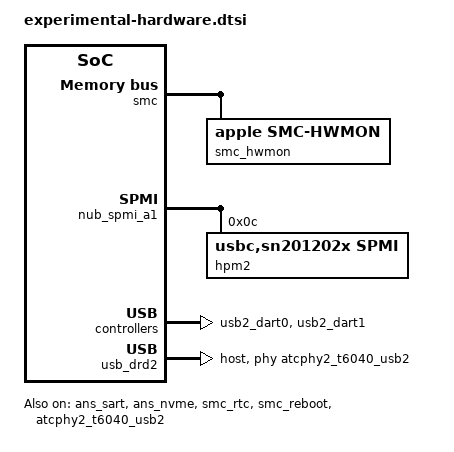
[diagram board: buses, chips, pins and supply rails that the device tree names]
// SPDX-License-Identifier: GPL-2.0+ OR MIT
/*
 * J614s experimental driver testing, appended to the working SD-root board.
 * The matching drivers are packaged as modules for explicit userspace trials.
 * These are enabled hardware descriptions, not a claim of native stability.
 *
 * USB2/PD wiring derives from Wallace 55f116dd, usb2-native-right[-pd].
 * Only the right USB-C port has a T6040 host PHY implementation in that stack.
 * Its two DARTs probe at boot because the SD path needs APPLE_DART built in.
 */
#include <dt-bindings/phy/phy.h>
#include <dt-bindings/spmi/spmi.h>

&ans_mbox { status = "okay"; };
&ans_sart { status = "okay"; };
&ans_nvme { status = "okay"; };

/* Power domains are required even with pd_ignore_unused: a cold controller
 * may start powered off. Do not reproduce Wallace's early SPMI boot hangs. */
&nub_spmi0 {
	power-domains = <&ps_nub_spmi0>;
	status = "okay";
};
&smc_rtc { status = "okay"; };
&smc_reboot { status = "okay"; };

/* Asahi common/laptop telemetry keys. Missing keys are skipped by hwmon.
 * Omit fan target/mode properties so no manual fan controls are exposed. */
&smc {
	smc_hwmon: hwmon {
		compatible = "apple,smc-hwmon";
		power-PSTR { apple,key-id = "PSTR"; label = "Total System Power"; };
		power-PDTR { apple,key-id = "PDTR"; label = "AC Input Power"; };
		power-PHPC { apple,key-id = "PHPC"; label = "Heatpipe Power"; };
		temperature-TH0x { apple,key-id = "TH0x"; label = "NAND Flash Temperature"; };
		temperature-TB0T { apple,key-id = "TB0T"; label = "Battery Hotspot"; };
		temperature-TCHP { apple,key-id = "TCHP"; label = "Charge Regulator Temp"; };
		temperature-TW0P { apple,key-id = "TW0P"; label = "WiFi/BT Module Temp"; };
		voltage-SBAV { apple,key-id = "SBAV"; label = "Battery Voltage"; };
		voltage-VD0R { apple,key-id = "VD0R"; label = "AC Input Voltage"; };
		current-ID0R { apple,key-id = "ID0R"; label = "AC Input Current"; };
		fan-F0Ac { apple,key-id = "F0Ac"; label = "Fan 1"; };
		fan-F1Ac { apple,key-id = "F1Ac"; label = "Fan 2"; };
	};
};

&soc {
	atcphy2_t6040_usb2: phy@392a90000 {
		compatible = "apple,t6040-atcphy";
		reg = <0x3 0x92a90000 0x0 0x4000>,
		      <0x3 0x92800000 0x0 0x4000>;
		reg-names = "bank0", "bank1";
		#phy-cells = <1>;
		power-domains = <&ps_atc2_usb>;
		status = "okay";
	};

	/* CPU physical address, not the raw ADT 0x309198000 bus address. */
	nub_spmi_a1: spmi@509198000 {
		compatible = "apple,t6040-spmi", "apple,spmi";
		reg = <0x5 0x09198000 0x0 0x4000>;
		power-domains = <&ps_nub_spmi_a1>;
		#address-cells = <2>;
		#size-cells = <0>;
		status = "okay";

		/* hpm2 / RID 2 / port-number 3: right port only. No role swaps. */
		hpm2: usb-pd@c {
			compatible = "usbc,sn201202x,spmi";
			reg = <0xc SPMI_USID>;
			typec_right: connector {
				compatible = "usb-c-connector";
				power-role = "source";
				data-role = "host";
			};
		};
	};
};

&usb2_dart0 { status = "okay"; };
&usb2_dart1 { status = "okay"; };
&usb_drd2 {
	/delete-property/ apple,force-device-mode;
	dr_mode = "host";
	apple,force-host-mode;
	phys = <&atcphy2_t6040_usb2 PHY_TYPE_USB2>;
	phy-names = "usb2-phy";
	status = "okay";
};
